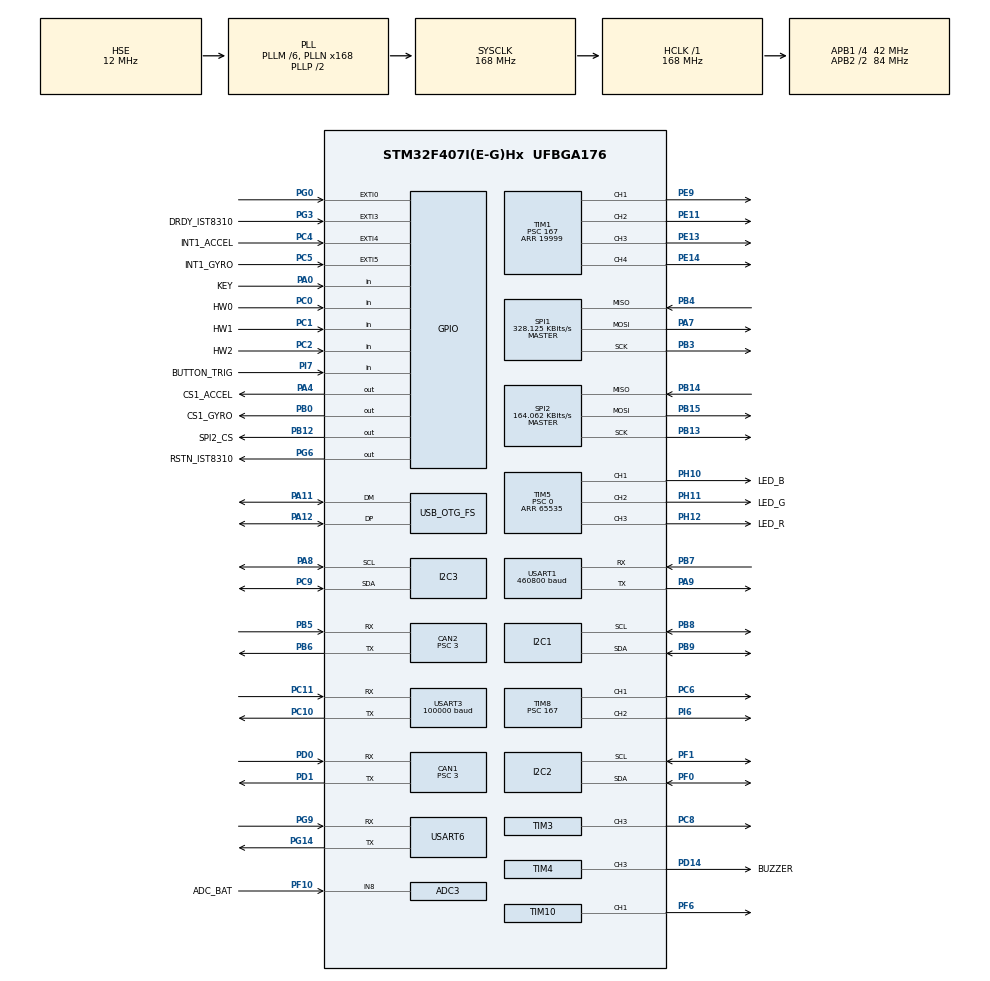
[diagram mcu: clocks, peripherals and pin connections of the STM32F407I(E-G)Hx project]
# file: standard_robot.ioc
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ADC1.Channel-0\#ChannelRegularConversion=ADC_CHANNEL_TEMPSENSOR
ADC1.ClockPrescaler=ADC_CLOCK_SYNC_PCLK_DIV6
ADC1.NbrOfConversionFlag=1
ADC1.Rank-0\#ChannelRegularConversion=1
ADC1.SamplingTime-0\#ChannelRegularConversion=ADC_SAMPLETIME_3CYCLES
ADC1.master=1
ADC3.Channel-0\#ChannelRegularConversion=ADC_CHANNEL_8
ADC3.ClockPrescaler=ADC_CLOCK_SYNC_PCLK_DIV6
ADC3.NbrOfConversionFlag=1
ADC3.Rank-0\#ChannelRegularConversion=1
ADC3.SamplingTime-0\#ChannelRegularConversion=ADC_SAMPLETIME_3CYCLES
CAN1.BS1=CAN_BS1_10TQ
CAN1.BS2=CAN_BS2_3TQ
CAN1.CalculateBaudRate=1000000
CAN1.CalculateTimeBit=1000
CAN1.CalculateTimeQuantum=71.42857142857143
CAN1.Prescaler=3
CAN2.BS1=CAN_BS1_10TQ
CAN2.BS2=CAN_BS2_3TQ
CAN2.CalculateBaudRate=1000000
CAN2.CalculateTimeBit=1000
CAN2.CalculateTimeQuantum=71.42857142857143
CAN2.Prescaler=3
Dma.I2C2_TX.2.Direction=DMA_MEMORY_TO_PERIPH
Dma.I2C2_TX.2.FIFOMode=DMA_FIFOMODE_DISABLE
Dma.I2C2_TX.2.Instance=DMA1_Stream7
Dma.I2C2_TX.2.MemDataAlignment=DMA_MDATAALIGN_BYTE
Dma.I2C2_TX.2.MemInc=DMA_MINC_ENABLE
Dma.I2C2_TX.2.Mode=DMA_NORMAL
Dma.I2C2_TX.2.PeriphDataAlignment=DMA_PDATAALIGN_BYTE
Dma.I2C2_TX.2.PeriphInc=DMA_PINC_DISABLE
Dma.I2C2_TX.2.Priority=DMA_PRIORITY_HIGH
Dma.Request0=SPI1_RX
Dma.Request1=SPI1_TX
Dma.Request2=I2C2_TX
Dma.Request3=USART3_RX
Dma.Request4=USART6_RX
Dma.Request5=USART6_TX
Dma.Request6=USART1_RX
Dma.SPI1_RX.0.Direction=DMA_PERIPH_TO_MEMORY
Dma.SPI1_RX.0.FIFOMode=DMA_FIFOMODE_DISABLE
Dma.SPI1_RX.0.Instance=DMA2_Stream2
Dma.SPI1_RX.0.MemDataAlignment=DMA_MDATAALIGN_BYTE
Dma.SPI1_RX.0.MemInc=DMA_MINC_ENABLE
Dma.SPI1_RX.0.Mode=DMA_NORMAL
Dma.SPI1_RX.0.PeriphDataAlignment=DMA_PDATAALIGN_BYTE
Dma.SPI1_RX.0.PeriphInc=DMA_PINC_DISABLE
Dma.SPI1_RX.0.Priority=DMA_PRIORITY_VERY_HIGH
Dma.SPI1_TX.1.Direction=DMA_MEMORY_TO_PERIPH
Dma.SPI1_TX.1.FIFOMode=DMA_FIFOMODE_DISABLE
Dma.SPI1_TX.1.Instance=DMA2_Stream3
Dma.SPI1_TX.1.MemDataAlignment=DMA_MDATAALIGN_BYTE
Dma.SPI1_TX.1.MemInc=DMA_MINC_ENABLE
Dma.SPI1_TX.1.Mode=DMA_NORMAL
Dma.SPI1_TX.1.PeriphDataAlignment=DMA_PDATAALIGN_BYTE
Dma.SPI1_TX.1.PeriphInc=DMA_PINC_DISABLE
Dma.SPI1_TX.1.Priority=DMA_PRIORITY_HIGH
Dma.USART1_RX.6.Direction=DMA_PERIPH_TO_MEMORY
Dma.USART1_RX.6.FIFOMode=DMA_FIFOMODE_DISABLE
Dma.USART1_RX.6.Instance=DMA2_Stream5
Dma.USART1_RX.6.MemDataAlignment=DMA_MDATAALIGN_BYTE
Dma.USART1_RX.6.MemInc=DMA_MINC_ENABLE
Dma.USART1_RX.6.Mode=DMA_NORMAL
Dma.USART1_RX.6.PeriphDataAlignment=DMA_PDATAALIGN_BYTE
Dma.USART1_RX.6.PeriphInc=DMA_PINC_DISABLE
Dma.USART1_RX.6.Priority=DMA_PRIORITY_MEDIUM
Dma.USART3_RX.3.Direction=DMA_PERIPH_TO_MEMORY
Dma.USART3_RX.3.FIFOMode=DMA_FIFOMODE_DISABLE
Dma.USART3_RX.3.Instance=DMA1_Stream1
Dma.USART3_RX.3.MemDataAlignment=DMA_MDATAALIGN_BYTE
Dma.USART3_RX.3.MemInc=DMA_MINC_ENABLE
Dma.USART3_RX.3.Mode=DMA_NORMAL
Dma.USART3_RX.3.PeriphDataAlignment=DMA_PDATAALIGN_BYTE
Dma.USART3_RX.3.PeriphInc=DMA_PINC_DISABLE
Dma.USART3_RX.3.Priority=DMA_PRIORITY_HIGH
Dma.USART6_RX.4.Direction=DMA_PERIPH_TO_MEMORY
Dma.USART6_RX.4.FIFOMode=DMA_FIFOMODE_DISABLE
Dma.USART6_RX.4.Instance=DMA2_Stream1
Dma.USART6_RX.4.MemDataAlignment=DMA_MDATAALIGN_BYTE
Dma.USART6_RX.4.MemInc=DMA_MINC_ENABLE
Dma.USART6_RX.4.Mode=DMA_NORMAL
Dma.USART6_RX.4.PeriphDataAlignment=DMA_PDATAALIGN_BYTE
Dma.USART6_RX.4.PeriphInc=DMA_PINC_DISABLE
Dma.USART6_RX.4.Priority=DMA_PRIORITY_HIGH
Dma.USART6_TX.5.Direction=DMA_MEMORY_TO_PERIPH
Dma.USART6_TX.5.FIFOMode=DMA_FIFOMODE_DISABLE
Dma.USART6_TX.5.Instance=DMA2_Stream6
Dma.USART6_TX.5.MemDataAlignment=DMA_MDATAALIGN_BYTE
Dma.USART6_TX.5.MemInc=DMA_MINC_ENABLE
Dma.USART6_TX.5.Mode=DMA_NORMAL
Dma.USART6_TX.5.PeriphDataAlignment=DMA_PDATAALIGN_BYTE
Dma.USART6_TX.5.PeriphInc=DMA_PINC_DISABLE
Dma.USART6_TX.5.Priority=DMA_PRIORITY_MEDIUM
FREERTOS.INCLUDE_eTaskGetState=1
FREERTOS.INCLUDE_pcTaskGetTaskName=1
FREERTOS.INCLUDE_uxTaskGetStackHighWaterMark=1
FREERTOS.INCLUDE_vTaskCleanUpResources=1
FREERTOS.INCLUDE_vTaskDelayUntil=1
FREERTOS.INCLUDE_xEventGroupSetBitFromISR=1
FREERTOS.INCLUDE_xQueueGetMutexHolder=1
FREERTOS.INCLUDE_xSemaphoreGetMutexHolder=1
FREERTOS.INCLUDE_xTaskAbortDelay=1
FREERTOS.INCLUDE_xTaskGetCurrentTaskHandle=1
FREERTOS.INCLUDE_xTaskGetHandle=1
FREERTOS.INCLUDE_xTimerPendFunctionCall=1
FREERTOS.Tasks01=test,0,128,test_task,As weak,NULL,Dynamic,NULL,NULL;SUPERCAP,-3,128,supercap_task,As external,NULL,Dynamic,NULL,NULL;AUTO_task,1,256,auto_task,As external,NULL,Dynamic,NULL,NULL;UI_task,1,256,UI_task_entry,As external,NULL,Dynamic,NULL,NULL;Watchdog,-3,128,Watchdog_Task,Default,NULL,Dynamic,NULL,NULL
FREERTOS.configENABLE_FPU=1
FREERTOS.configTOTAL_HEAP_SIZE=24576
I2C1.I2C_Mode=I2C_Fast
I2C2.I2C_Mode=I2C_Fast
I2C3.I2C_Mode=I2C_Fast
IWDG.Prescaler=IWDG_PRESCALER_32
IWDG.Reload=3000
Mcu.Family=STM32F4
Mcu.Name=STM32F407I(E-G)Hx
Mcu.Package=UFBGA176
NVIC.CAN1_RX0_IRQn=true\:6\:0\:true\:false\:true\:true\:true\:true\:true
NVIC.CAN2_RX0_IRQn=true\:6\:0\:true\:false\:true\:true\:true\:true\:true
NVIC.DMA1_Stream1_IRQn=true\:5\:0\:true\:false\:false\:true\:false\:false\:true
NVIC.DMA1_Stream7_IRQn=true\:5\:0\:true\:false\:false\:true\:false\:true\:true
NVIC.DMA2_Stream1_IRQn=true\:5\:0\:true\:false\:true\:true\:false\:true\:true
NVIC.DMA2_Stream2_IRQn=true\:5\:0\:true\:false\:false\:true\:false\:true\:true
NVIC.DMA2_Stream3_IRQn=true\:5\:0\:true\:false\:false\:true\:false\:true\:true
NVIC.DMA2_Stream5_IRQn=true\:5\:0\:false\:false\:true\:true\:false\:true\:true
NVIC.DMA2_Stream6_IRQn=true\:5\:0\:true\:false\:true\:true\:false\:true\:true
NVIC.EXTI0_IRQn=true\:6\:0\:true\:false\:true\:true\:true\:true\:true
NVIC.EXTI3_IRQn=true\:5\:0\:true\:false\:true\:true\:true\:true\:true
NVIC.EXTI4_IRQn=true\:5\:0\:true\:false\:true\:true\:true\:true\:true
NVIC.EXTI9_5_IRQn=true\:5\:0\:true\:false\:true\:true\:true\:true\:true
NVIC.OTG_FS_IRQn=true\:5\:0\:false\:false\:true\:true\:false\:true\:true
NVIC.PriorityGroup=NVIC_PRIORITYGROUP_4
NVIC.USART1_IRQn=true\:5\:0\:false\:false\:true\:true\:true\:true\:true
NVIC.USART3_IRQn=true\:4\:0\:true\:false\:false\:false\:true\:true\:true
NVIC.USART6_IRQn=true\:5\:0\:true\:false\:false\:true\:true\:true\:true
PA0-WKUP.GPIO_Label=KEY
PA0-WKUP.GPIO_PuPd=GPIO_PULLUP
PA0-WKUP.Signal=GPIO_Input
PA11.Mode=Device_Only
PA11.Signal=USB_OTG_FS_DM
PA12.Mode=Device_Only
PA12.Signal=USB_OTG_FS_DP
PA13.Mode=Serial_Wire
PA13.Signal=SYS_JTMS-SWDIO
PA14.Mode=Serial_Wire
PA14.Signal=SYS_JTCK-SWCLK
PA4.GPIO_Label=CS1_ACCEL
PA4.GPIO_PuPd=GPIO_PULLUP
PA4.GPIO_Speed=GPIO_SPEED_FREQ_HIGH
PA4.PinState=GPIO_PIN_SET
PA4.Signal=GPIO_Output
PA7.GPIO_PuPd=GPIO_PULLUP
PA7.Mode=Full_Duplex_Master
PA7.Signal=SPI1_MOSI
PA8.GPIO_Pu=GPIO_PULLUP
PA8.Mode=I2C
PA8.Signal=I2C3_SCL
PA9.Mode=Asynchronous
PA9.Signal=USART1_TX
PB0.GPIO_Label=CS1_GYRO
PB0.GPIO_PuPd=GPIO_PULLUP
PB0.GPIO_Speed=GPIO_SPEED_FREQ_HIGH
PB0.PinState=GPIO_PIN_SET
PB0.Signal=GPIO_Output
PB12.GPIO_Label=SPI2_CS
PB12.GPIO_PuPd=GPIO_PULLUP
PB12.GPIO_Speed=GPIO_SPEED_FREQ_MEDIUM
PB12.PinState=GPIO_PIN_SET
PB12.Signal=GPIO_Output
PB13.GPIO_PuPd=GPIO_PULLUP
PB13.Mode=Full_Duplex_Master
PB13.Signal=SPI2_SCK
PB14.GPIO_PuPd=GPIO_PULLUP
PB14.Mode=Full_Duplex_Master
PB14.Signal=SPI2_MISO
PB15.GPIO_PuPd=GPIO_PULLUP
PB15.Mode=Full_Duplex_Master
PB15.Signal=SPI2_MOSI
PB3.GPIO_PuPd=GPIO_PULLUP
PB3.Mode=Full_Duplex_Master
PB3.Signal=SPI1_SCK
PB4.GPIO_PuPd=GPIO_PULLUP
PB4.Mode=Full_Duplex_Master
PB4.Signal=SPI1_MISO
PB5.Mode=CAN_Activate
PB5.Signal=CAN2_RX
PB6.Mode=CAN_Activate
PB6.Signal=CAN2_TX
PB7.Mode=Asynchronous
PB7.Signal=USART1_RX
PB8.GPIO_Pu=GPIO_PULLUP
PB8.Mode=I2C
PB8.Signal=I2C1_SCL
PB9.GPIO_Pu=GPIO_PULLUP
PB9.Mode=I2C
PB9.Signal=I2C1_SDA
PC0.GPIO_Label=HW0
PC0.Signal=GPIO_Input
PC1.GPIO_Label=HW1
PC1.Signal=GPIO_Input
PC10.Mode=Asynchronous
PC10.Signal=USART3_TX
PC11.Mode=Asynchronous
PC11.Signal=USART3_RX
PC2.GPIO_Label=HW2
PC2.Signal=GPIO_Input
PC4.GPIO_Label=INT1_ACCEL
PC4.GPIO_ModeDefaultEXTI=GPIO_MODE_IT_FALLING
PC4.GPIO_PuPd=GPIO_PULLUP
PC4.Signal=GPXTI4
PC5.GPIO_Label=INT1_GYRO
PC5.GPIO_ModeDefaultEXTI=GPIO_MODE_IT_FALLING
PC5.GPIO_PuPd=GPIO_PULLUP
PC5.Signal=GPXTI5
PC6.GPIO_PuPd=GPIO_PULLUP
PC6.GPIO_Speed=GPIO_SPEED_FREQ_HIGH
PC6.Signal=S_TIM8_CH1
PC8.GPIO_PuPd=GPIO_PULLUP
PC8.GPIO_Speed=GPIO_SPEED_FREQ_HIGH
PC8.Signal=S_TIM3_CH3
PC9.GPIO_Pu=GPIO_PULLUP
PC9.Mode=I2C
PC9.Signal=I2C3_SDA
PD0.Mode=CAN_Activate
PD0.Signal=CAN1_RX
PD1.Mode=CAN_Activate
PD1.Signal=CAN1_TX
PD14.GPIO_Label=BUZZER
PD14.GPIO_PuPd=GPIO_PULLUP
PD14.GPIO_Speed=GPIO_SPEED_FREQ_VERY_HIGH
PD14.Signal=S_TIM4_CH3
PE11.GPIO_PuPd=GPIO_PULLUP
PE11.GPIO_Speed=GPIO_SPEED_FREQ_HIGH
PE11.Signal=S_TIM1_CH2
PE13.GPIO_PuPd=GPIO_PULLUP
PE13.GPIO_Speed=GPIO_SPEED_FREQ_HIGH
PE13.Signal=S_TIM1_CH3
PE14.GPIO_PuPd=GPIO_PULLUP
PE14.GPIO_Speed=GPIO_SPEED_FREQ_HIGH
PE14.Signal=S_TIM1_CH4
PE9.GPIO_PuPd=GPIO_PULLUP
PE9.GPIO_Speed=GPIO_SPEED_FREQ_HIGH
PE9.Signal=S_TIM1_CH1
PF0.GPIO_Pu=GPIO_PULLUP
PF0.Mode=I2C
PF0.Signal=I2C2_SDA
PF1.GPIO_Pu=GPIO_PULLUP
PF1.Mode=I2C
PF1.Signal=I2C2_SCL
PF10.GPIO_Label=ADC_BAT
PF10.Mode=IN8
PF10.Signal=ADC3_IN8
PF6.GPIO_PuPd=GPIO_PULLUP
PF6.GPIO_Speed=GPIO_SPEED_FREQ_HIGH
PF6.Signal=S_TIM10_CH1
PG0.GPIO_ModeDefaultEXTI=GPIO_MODE_IT_FALLING
PG0.GPIO_PuPd=GPIO_PULLUP
PG0.Signal=GPXTI0
PG14.Mode=Asynchronous
PG14.Signal=USART6_TX
PG3.GPIO_Label=DRDY_IST8310
PG3.GPIO_ModeDefaultEXTI=GPIO_MODE_IT_FALLING
PG3.GPIO_PuPd=GPIO_PULLUP
PG3.Signal=GPXTI3
PG6.GPIO_Label=RSTN_IST8310
PG6.GPIO_PuPd=GPIO_PULLUP
PG6.GPIO_Speed=GPIO_SPEED_FREQ_MEDIUM
PG6.PinState=GPIO_PIN_SET
PG6.Signal=GPIO_Output
PG9.Mode=Asynchronous
PG9.Signal=USART6_RX
PH0-OSC_IN.Mode=HSE-External-Oscillator
PH0-OSC_IN.Signal=RCC_OSC_IN
PH1-OSC_OUT.Mode=HSE-External-Oscillator
PH1-OSC_OUT.Signal=RCC_OSC_OUT
PH10.GPIO_Label=LED_B
PH10.GPIO_PuPd=GPIO_PULLUP
PH10.GPIO_Speed=GPIO_SPEED_FREQ_HIGH
PH10.Signal=S_TIM5_CH1
PH11.GPIO_Label=LED_G
PH11.GPIO_PuPd=GPIO_PULLUP
PH11.GPIO_Speed=GPIO_SPEED_FREQ_HIGH
PH11.Signal=S_TIM5_CH2
PH12.GPIO_Label=LED_R
PH12.GPIO_PuPd=GPIO_PULLUP
PH12.GPIO_Speed=GPIO_SPEED_FREQ_HIGH
PH12.Signal=S_TIM5_CH3
PI6.GPIO_PuPd=GPIO_PULLUP
PI6.GPIO_Speed=GPIO_SPEED_FREQ_HIGH
PI6.Signal=S_TIM8_CH2
PI7.GPIO_Label=BUTTON_TRIG
PI7.GPIO_PuPd=GPIO_PULLUP
PI7.Signal=GPIO_Input
ProjectManager.HeapSize=0x2000
ProjectManager.StackSize=0x2000
ProjectManager.TargetToolchain=MDK-ARM V5
RCC.48MHZClocksFreq_Value=48000000
RCC.AHBFreq_Value=168000000
RCC.APB1CLKDivider=RCC_HCLK_DIV4
RCC.APB1Freq_Value=42000000
RCC.APB1TimFreq_Value=84000000
RCC.APB2CLKDivider=RCC_HCLK_DIV2
RCC.APB2Freq_Value=84000000
RCC.APB2TimFreq_Value=168000000
RCC.CortexFreq_Value=168000000
RCC.HCLKFreq_Value=168000000
RCC.HSE_VALUE=12000000
RCC.HSI_VALUE=16000000
RCC.LSE_VALUE=32768
RCC.PLLM=6
RCC.PLLN=168
RCC.PLLQ=7
RCC.RCC_RTC_Clock_SourceVirtual=RCC_RTCCLKSOURCE_HSE_DIV30
RCC.RCC_RTC_Clock_Source_FROM_HSE=RCC_RTCCLKSOURCE_HSE_DIV30
RCC.SYSCLKFreq_VALUE=168000000
RCC.SYSCLKSource=RCC_SYSCLKSOURCE_PLLCLK
RCC.VCOOutputFreq_Value=336000000
RTC.AsynchPrediv=124
RTC.SynchPrediv=3199
SH.S_TIM10_CH1.0=TIM10_CH1,PWM Generation1 CH1
SH.S_TIM1_CH1.0=TIM1_CH1,PWM Generation1 CH1
SH.S_TIM1_CH2.0=TIM1_CH2,PWM Generation2 CH2
SH.S_TIM1_CH3.0=TIM1_CH3,PWM Generation3 CH3
SH.S_TIM1_CH4.0=TIM1_CH4,PWM Generation4 CH4
SH.S_TIM3_CH3.0=TIM3_CH3,PWM Generation3 CH3
SH.S_TIM4_CH3.0=TIM4_CH3,PWM Generation3 CH3
SH.S_TIM5_CH1.0=TIM5_CH1,PWM Generation1 CH1
SH.S_TIM5_CH2.0=TIM5_CH2,PWM Generation2 CH2
SH.S_TIM5_CH3.0=TIM5_CH3,PWM Generation3 CH3
SH.S_TIM8_CH1.0=TIM8_CH1,PWM Generation1 CH1
SH.S_TIM8_CH2.0=TIM8_CH2,PWM Generation2 CH2
SPI1.BaudRatePrescaler=SPI_BAUDRATEPRESCALER_256
SPI1.CLKPhase=SPI_PHASE_2EDGE
SPI1.CLKPolarity=SPI_POLARITY_HIGH
SPI1.CalculateBaudRate=328.125 KBits/s
SPI1.Direction=SPI_DIRECTION_2LINES
SPI1.Mode=SPI_MODE_MASTER
SPI1.VirtualType=VM_MASTER
SPI2.BaudRatePrescaler=SPI_BAUDRATEPRESCALER_256
SPI2.CLKPhase=SPI_PHASE_2EDGE
SPI2.CLKPolarity=SPI_POLARITY_HIGH
SPI2.CalculateBaudRate=164.062 KBits/s
SPI2.Direction=SPI_DIRECTION_2LINES
SPI2.Mode=SPI_MODE_MASTER
SPI2.VirtualType=VM_MASTER
TIM1.Channel-PWM\ Generation1\ CH1=TIM_CHANNEL_1
TIM1.Channel-PWM\ Generation2\ CH2=TIM_CHANNEL_2
TIM1.Channel-PWM\ Generation3\ CH3=TIM_CHANNEL_3
TIM1.Channel-PWM\ Generation4\ CH4=TIM_CHANNEL_4
TIM1.Period=19999
TIM1.Prescaler=167
TIM1.Pulse-PWM\ Generation1\ CH1=1000
TIM1.Pulse-PWM\ Generation2\ CH2=1000
TIM1.Pulse-PWM\ Generation3\ CH3=1000
TIM1.Pulse-PWM\ Generation4\ CH4=1000
TIM10.Channel=TIM_CHANNEL_1
TIM10.Period=4999
TIM3.Channel-PWM\ Generation3\ CH3=TIM_CHANNEL_3
TIM3.Period=8399
TIM4.Channel-PWM\ Generation3\ CH3=TIM_CHANNEL_3
TIM4.Period=65535
TIM4.Prescaler=167
TIM5.Channel-PWM\ Generation1\ CH1=TIM_CHANNEL_1
TIM5.Channel-PWM\ Generation2\ CH2=TIM_CHANNEL_2
TIM5.Channel-PWM\ Generation3\ CH3=TIM_CHANNEL_3
TIM5.Period=65535
TIM5.Prescaler=0
TIM8.Channel-PWM\ Generation1\ CH1=TIM_CHANNEL_1
TIM8.Channel-PWM\ Generation2\ CH2=TIM_CHANNEL_2
TIM8.Period=19999
TIM8.Prescaler=167
TIM8.Pulse-PWM\ Generation1\ CH1=1000
TIM8.Pulse-PWM\ Generation2\ CH2=1000
USART1.BaudRate=460800
USART1.VirtualMode=VM_ASYNC
USART3.BaudRate=100000
USART3.Parity=PARITY_EVEN
USART3.VirtualMode=VM_ASYNC
USART6.VirtualMode=VM_ASYNC
USB_DEVICE.CLASS_NAME_FS=CDC
USB_DEVICE.VirtualMode-CDC_FS=Cdc
USB_DEVICE.VirtualModeFS=Cdc_FS
USB_OTG_FS.VirtualMode=Device_Only
VP_ADC1_TempSens_Input.Mode=IN-TempSens
VP_ADC1_Vref_Input.Mode=IN-Vrefint
VP_CRC_VS_CRC.Mode=CRC_Activate
VP_FREERTOS_VS_CMSIS_V1.Mode=CMSIS_V1
VP_IWDG_VS_IWDG.Mode=IWDG_Activate
VP_RNG_VS_RNG.Mode=RNG_Activate
VP_RTC_VS_RTC_Activate.Mode=RTC_Enabled
VP_TIM10_VS_ClockSourceINT.Mode=Enable_Timer
VP_TIM1_VS_ClockSourceINT.Mode=Internal
VP_TIM3_VS_ClockSourceINT.Mode=Internal
VP_TIM4_VS_ClockSourceINT.Mode=Internal
VP_TIM5_VS_ClockSourceINT.Mode=Internal
VP_TIM8_VS_ClockSourceINT.Mode=Internal
VP_USB_DEVICE_VS_USB_DEVICE_CDC_FS.Mode=CDC_FS
board=custom

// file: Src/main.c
/* USER CODE BEGIN Header */
/**
  ******************************************************************************
  * @file           : main.c
  * @brief          : Main program body
  ******************************************************************************
  * @attention
  *
  * <h2><center>&copy; Copyright (c) 2019 STMicroelectronics.
  * All rights reserved.</center></h2>
  *
  * This software component is licensed by ST under Ultimate Liberty license
  * SLA0044, the "License"; You may not use this file except in compliance with
  * the License. You may obtain a copy of the License at:
  *                             www.st.com/SLA0044
  *
  ******************************************************************************
  */
/* USER CODE END Header */
#include "main.h"
#include "cmsis_os.h"
#include "adc.h"
#include "can.h"
#include "crc.h"
#include "dma.h"
#include "i2c.h"
#include "iwdg.h"
#include "rng.h"
#include "rtc.h"
#include "spi.h"
#include "tim.h"
#include "usart.h"
#include "usb_device.h"
#include "gpio.h"

/* USER CODE BEGIN Includes */
#include "bsp_can.h"
#include "bsp_delay.h"
#include "bsp_usart.h"
#include "remote_control.h"

#include "calibrate_task.h"
#include "chassis_task.h"
#include "detect_task.h"
#include "gimbal_task.h"
#include "INS_task.h"
#include "led_flow_task.h"

#include "referee_usart_task.h"
#include "usb_task.h"
#include "voltage_task.h"
#include "auto_shoot.h"
#include "UI.h"
/* USER CODE END Includes */

void SystemClock_Config(void);
void MX_FREERTOS_Init(void);

int main(void)
{

  /* MCU Configuration--------------------------------------------------------*/

  /* Reset of all peripherals, Initializes the Flash interface and the Systick. */
  HAL_Init();

  /* Configure the system clock */
  SystemClock_Config();

  /* Initialize all configured peripherals */
  MX_GPIO_Init();
  MX_DMA_Init();
  MX_ADC1_Init();
  MX_ADC3_Init();
  MX_CAN1_Init();
  MX_CAN2_Init();
  MX_I2C1_Init();
  MX_SPI1_Init();
  MX_TIM4_Init();
  MX_TIM5_Init();
  MX_USART3_UART_Init();
  MX_TIM8_Init();
  MX_CRC_Init();
  MX_RNG_Init();
  MX_I2C2_Init();
  MX_I2C3_Init();
  MX_RTC_Init();
  MX_SPI2_Init();
  MX_TIM1_Init();
  MX_TIM3_Init();
  MX_TIM10_Init();
  MX_USART1_UART_Init();
  MX_USART6_UART_Init();
  MX_IWDG_Init();
  /* USER CODE BEGIN 2 */
  MX_USB_DEVICE_Init();    //���⴮�ڳ�ʼ��
	can_filter_init();
	delay_init();
	cali_param_init();
	remote_control_init();

  /* USER CODE END 2 */

  /* Call init function for freertos objects (in cmsis_os2.c) */
  MX_FREERTOS_Init();

  /* Start scheduler */
  osKernelStart();

  /* We should never get here as control is now taken by the scheduler */

  /* Infinite loop */
  while (1)
  {

  }
}

void SystemClock_Config(void)
{
  RCC_OscInitTypeDef RCC_OscInitStruct = {0};
  RCC_ClkInitTypeDef RCC_ClkInitStruct = {0};

  /** Configure the main internal regulator output voltage
  */
  __HAL_RCC_PWR_CLK_ENABLE();
  __HAL_PWR_VOLTAGESCALING_CONFIG(PWR_REGULATOR_VOLTAGE_SCALE1);

  /** Initializes the RCC Oscillators according to the specified parameters
  * in the RCC_OscInitTypeDef structure.
  */
  RCC_OscInitStruct.OscillatorType = RCC_OSCILLATORTYPE_LSI|RCC_OSCILLATORTYPE_HSE;
  RCC_OscInitStruct.HSEState = RCC_HSE_ON;
  RCC_OscInitStruct.LSIState = RCC_LSI_ON;
  RCC_OscInitStruct.PLL.PLLState = RCC_PLL_ON;
  RCC_OscInitStruct.PLL.PLLSource = RCC_PLLSOURCE_HSE;
  RCC_OscInitStruct.PLL.PLLM = 6;
  RCC_OscInitStruct.PLL.PLLN = 168;
  RCC_OscInitStruct.PLL.PLLP = RCC_PLLP_DIV2;
  RCC_OscInitStruct.PLL.PLLQ = 7;
  if (HAL_RCC_OscConfig(&RCC_OscInitStruct) != HAL_OK)
  {
    Error_Handler();
  }

  /** Initializes the CPU, AHB and APB buses clocks
  */
  RCC_ClkInitStruct.ClockType = RCC_CLOCKTYPE_HCLK|RCC_CLOCKTYPE_SYSCLK
                              |RCC_CLOCKTYPE_PCLK1|RCC_CLOCKTYPE_PCLK2;
  RCC_ClkInitStruct.SYSCLKSource = RCC_SYSCLKSOURCE_PLLCLK;
  RCC_ClkInitStruct.AHBCLKDivider = RCC_SYSCLK_DIV1;
  RCC_ClkInitStruct.APB1CLKDivider = RCC_HCLK_DIV4;
  RCC_ClkInitStruct.APB2CLKDivider = RCC_HCLK_DIV2;

  if (HAL_RCC_ClockConfig(&RCC_ClkInitStruct, FLASH_LATENCY_5) != HAL_OK)
  {
    Error_Handler();
  }
}

void Error_Handler(void)
{
}

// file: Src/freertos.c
/* USER CODE BEGIN Header */
/**
  ******************************************************************************
  * File Name          : freertos.c
  * Description        : Code for freertos applications
  ******************************************************************************
  * @attention
  *
  * <h2><center>&copy; Copyright (c) 2019 STMicroelectronics.
  * All rights reserved.</center></h2>
  *
  * This software component is licensed by ST under Ultimate Liberty license
  * SLA0044, the "License"; You may not use this file except in compliance with
  * the License. You may obtain a copy of the License at:
  *                             www.st.com/SLA0044
  *
  ******************************************************************************
  */
/* USER CODE END Header */

#include "FreeRTOS.h"
#include "task.h"
#include "main.h"
#include "cmsis_os.h"

/* USER CODE BEGIN Includes */

#include "calibrate_task.h"
#include "chassis_task.h"
#include "detect_task.h"
#include "gimbal_task.h"
#include "INS_task.h"
#include "led_flow_task.h"

#include "referee_usart_task.h"
#include "usb_task.h"
#include "voltage_task.h"

#include "auto_shoot.h"
#include "iwdg.h"
/* USER CODE END Includes */

/* USER CODE BEGIN PTD */

osThreadId calibrate_tast_handle;
osThreadId chassisTaskHandle;
osThreadId detect_handle;
osThreadId gimbalTaskHandle;
osThreadId imuTaskHandle;
osThreadId led_RGB_flow_handle;
osThreadId oled_handle;
osThreadId referee_usart_task_handle;
osThreadId usb_task_handle;
osThreadId battery_voltage_handle;
osThreadId servo_task_handle;

/* USER CODE END PTD */

osThreadId testHandle;
osThreadId SUPERCAPHandle;
osThreadId AUTO_taskHandle;
osThreadId UI_taskHandle;
osThreadId WatchdogHandle;

void test_task(void const * argument);
//extern void supercap_task(void const * argument);
extern void auto_task(void const * argument);
extern void UI_task_entry(void const * argument);
void Watchdog_Task(void const * argument);

extern void MX_USB_DEVICE_Init(void);
void MX_FREERTOS_Init(void); /* (MISRA C 2004 rule 8.1) */

/* GetIdleTaskMemory prototype (linked to static allocation support) */
void vApplicationGetIdleTaskMemory( StaticTask_t **ppxIdleTaskTCBBuffer, StackType_t **ppxIdleTaskStackBuffer, uint32_t *pulIdleTaskStackSize );

/* GetTimerTaskMemory prototype (linked to static allocation support) */
void vApplicationGetTimerTaskMemory( StaticTask_t **ppxTimerTaskTCBBuffer, StackType_t **ppxTimerTaskStackBuffer, uint32_t *pulTimerTaskStackSize );

/* USER CODE BEGIN GET_IDLE_TASK_MEMORY */
static StaticTask_t xIdleTaskTCBBuffer;
static StackType_t xIdleStack[configMINIMAL_STACK_SIZE];

void vApplicationGetIdleTaskMemory( StaticTask_t **ppxIdleTaskTCBBuffer, StackType_t **ppxIdleTaskStackBuffer, uint32_t *pulIdleTaskStackSize )
{
  *ppxIdleTaskTCBBuffer = &xIdleTaskTCBBuffer;
  *ppxIdleTaskStackBuffer = &xIdleStack[0];
  *pulIdleTaskStackSize = configMINIMAL_STACK_SIZE;
  /* place for user code */
}
/* USER CODE END GET_IDLE_TASK_MEMORY */

/* USER CODE BEGIN GET_TIMER_TASK_MEMORY */
static StaticTask_t xTimerTaskTCBBuffer;
static StackType_t xTimerStack[configTIMER_TASK_STACK_DEPTH];

void vApplicationGetTimerTaskMemory( StaticTask_t **ppxTimerTaskTCBBuffer, StackType_t **ppxTimerTaskStackBuffer, uint32_t *pulTimerTaskStackSize )
{
  *ppxTimerTaskTCBBuffer = &xTimerTaskTCBBuffer;
  *ppxTimerTaskStackBuffer = &xTimerStack[0];
  *pulTimerTaskStackSize = configTIMER_TASK_STACK_DEPTH;
  /* place for user code */
}
/* USER CODE END GET_TIMER_TASK_MEMORY */

void MX_FREERTOS_Init(void) {

  /* Create the thread(s) */
  /* definition and creation of test */
  osThreadDef(test, test_task, osPriorityIdle, 0, 128);
  testHandle = osThreadCreate(osThread(test), NULL);

  /* definition and creation of SUPERCAP */
//  osThreadDef(SUPERCAP, supercap_task, osPriorityIdle, 0, 128);
//  SUPERCAPHandle = osThreadCreate(osThread(SUPERCAP), NULL);

  /* definition and creation of AUTO_task */
  osThreadDef(AUTO_task, auto_task, osPriorityAboveNormal, 0, 256);
  AUTO_taskHandle = osThreadCreate(osThread(AUTO_task), NULL);

  /* definition and creation of UI_task */
  osThreadDef(UI_task, UI_task_entry, osPriorityNormal, 0, 256);
  UI_taskHandle = osThreadCreate(osThread(UI_task), NULL);

  /* definition and creation of Watchdog */
  osThreadDef(Watchdog, Watchdog_Task, osPriorityIdle, 0, 128);
  WatchdogHandle = osThreadCreate(osThread(Watchdog), NULL);

  /* USER CODE BEGIN RTOS_THREADS */
  /* add threads, ... */
	osThreadDef(cali, calibrate_task, osPriorityNormal, 1, 512);
	calibrate_tast_handle = osThreadCreate(osThread(cali), NULL);

	osThreadDef(ChassisTask, chassis_task, osPriorityAboveNormal, 0, 512);
	chassisTaskHandle = osThreadCreate(osThread(ChassisTask), NULL);

	osThreadDef(DETECT, detect_task, osPriorityNormal, 0, 256);
	detect_handle = osThreadCreate(osThread(DETECT), NULL);

	osThreadDef(gimbalTask, gimbal_task, osPriorityHigh, 0, 1024);
	gimbalTaskHandle = osThreadCreate(osThread(gimbalTask), NULL);

	osThreadDef(imuTask, INS_task, osPriorityRealtime, 0, 1024);
	imuTaskHandle = osThreadCreate(osThread(imuTask), NULL);

	osThreadDef(led, led_RGB_flow_task, osPriorityLow, 0, 256);
	led_RGB_flow_handle = osThreadCreate(osThread(led), NULL);

	osThreadDef(REFEREE, referee_usart_task, osPriorityNormal, 0, 128);
	referee_usart_task_handle = osThreadCreate(osThread(REFEREE), NULL);

//    osThreadDef(USBTask, usb_task, osPriorityNormal, 0, 128);
//    usb_task_handle = osThreadCreate(osThread(USBTask), NULL);

////    osThreadDef(BATTERY_VOLTAGE, battery_voltage_task, osPriorityNormal, 0, 128);
////    battery_voltage_handle = osThreadCreate(osThread(BATTERY_VOLTAGE), NULL);

//    osThreadDef(SERVO, servo_task, osPriorityNormal, 0, 128);
//    servo_task_handle = osThreadCreate(osThread(SERVO), NULL);

  /* USER CODE END RTOS_THREADS */

}

__weak void test_task(void const * argument)
{
  /* init code for USB_DEVICE */
  MX_USB_DEVICE_Init();
  for(;;)
  {
    osDelay(1);
  }
}

int debug_1 = 0;
void Watchdog_Task(void const * argument)//��ʱ���� ������
{
  /* USER CODE BEGIN Watchdog_Task */
  /* Infinite loop */
  for(;;)
  {
		debug_1++;
    osDelay(1000);						 // ι����� 1�루С�ڿ��Ź���ʱ3�룩
		HAL_IWDG_Refresh(&hiwdg);  // ι��
  }
  /* USER CODE END Watchdog_Task */
}
